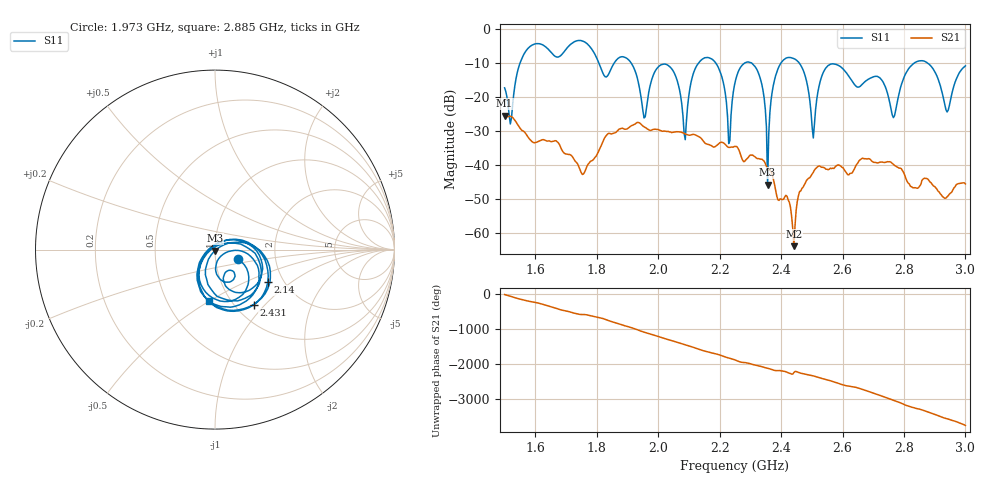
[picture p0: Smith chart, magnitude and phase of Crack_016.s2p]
# HZ S RI R 50
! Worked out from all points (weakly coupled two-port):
!   404 points, 1.5 GHz to 3 GHz, reference 50 ohm
!   highest |S21| = -25.58 dB at 1.5 GHz (marker M1); lowest = -64.0 dB at 2.442 GHz (marker M2)
!   lowest |S11| = -45.9 dB at 2.356 GHz (marker M3), VSWR 1.01, Z = 50 - j0.507 ohm
!   |S11| at or under -10 dB: 1.911 GHz to 2.133 GHz (221.8 MHz wide, 11 % of centre); 2.458 GHz to 2.836 GHz (378 MHz wide, 14.3 % of centre); 2.875 GHz to end of sweep (the widest 3 of 7)
!   S12 and S22 are empty: the file has one direction only
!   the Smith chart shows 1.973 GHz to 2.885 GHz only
!   S11 on the Smith chart (normalised r, x): 1.973 GHz: 1.28, -0.14; 2.14 GHz: 1.66, -0.68; 2.431 GHz: 1.21, -0.86; 2.885 GHz: 0.79, -0.50
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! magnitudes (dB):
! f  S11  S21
! 1.5 GHz  -17.4  -25.6
! 1.519 GHz  -28.1  -25.8
! 1.589 GHz  -4.9  -33.3
! 1.753 GHz  -3.6  -42.9
! 1.973 GHz  -17.2  -29.9
! 2.002 GHz  -11.1  -29.8
! 2.088 GHz  -32.7  -31.0
! 2.14 GHz  -9.3  -32.3
! 2.196 GHz  -11.5  -34.0
! 2.23 GHz  -33.8  -34.9
! 2.252 GHz  -15.2  -34.7
! 2.319 GHz  -11.7  -38.0
! 2.356 GHz  -45.9  -41.0
! 2.386 GHz  -12.9  -49.2
! 2.431 GHz  -8.5  -52.5
! 2.442 GHz  -8.8  -64.0
! 2.501 GHz  -29.1  -42.8
! 2.561 GHz  -10.5  -41.1
! 2.751 GHz  -20.5  -39.2
! 2.885 GHz  -10.7  -45.1
! 2.94 GHz  -24.5  -49.5
! 3 GHz  -11.0  -45.7
